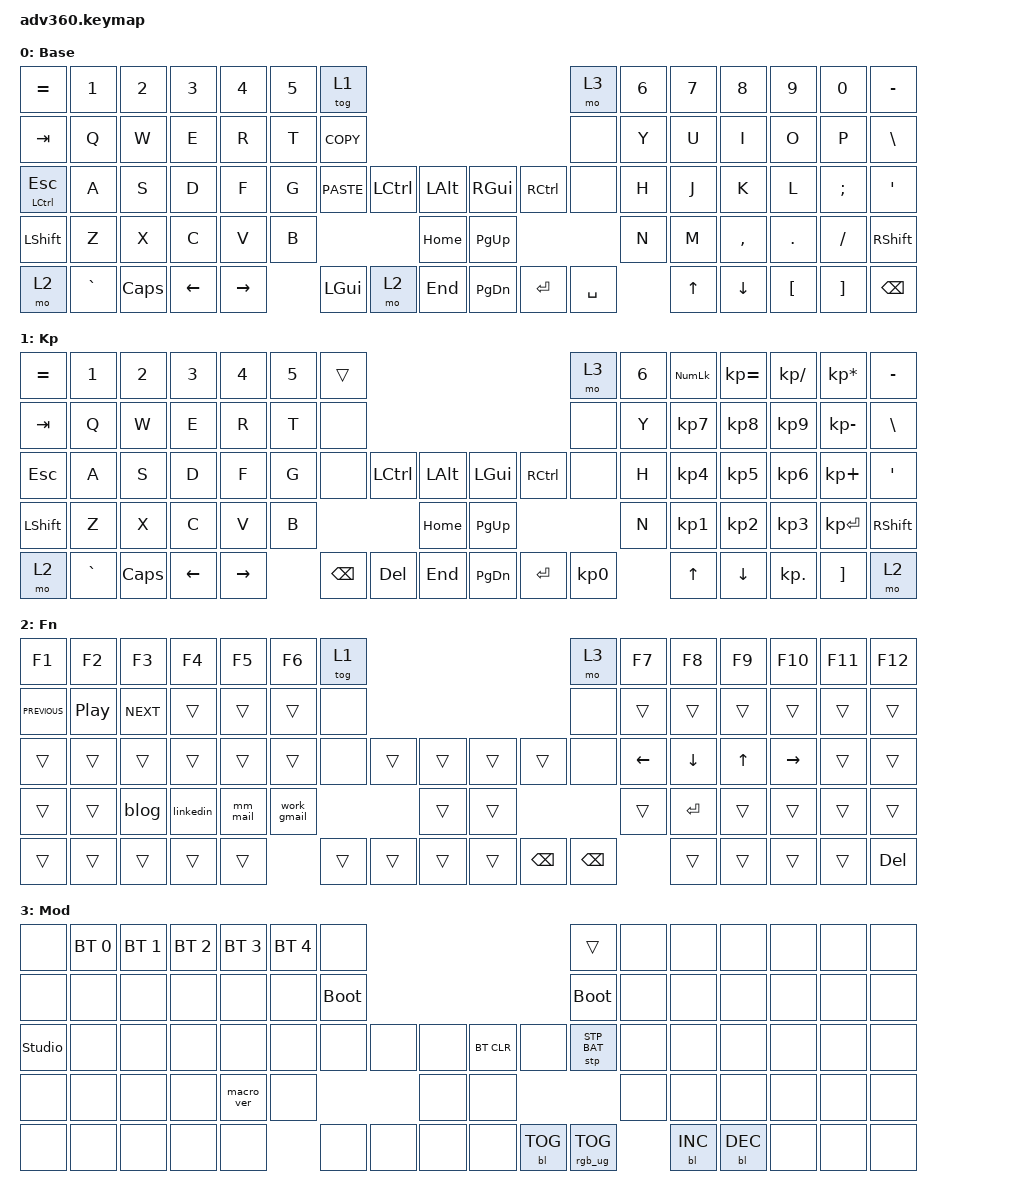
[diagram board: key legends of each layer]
#include <dt-bindings/zmk/stp.h>
#include <behaviors.dtsi>
#include <dt-bindings/zmk/backlight.h>
#include <dt-bindings/zmk/bt.h>
#include <dt-bindings/zmk/keys.h>
#include <dt-bindings/zmk/rgb.h>

/ {
    behaviors {
        #include "macros.dtsi"
      #include "version.dtsi"

        hm: homerow_mods {
            compatible = "zmk,behavior-hold-tap";
            label = "HOMEROW_MODS";
            #binding-cells = <2>;
            tapping-term-ms = <200>;
            quick_tap_ms = <175>;
            flavor = "tap-preferred";
            bindings = <&kp>, <&kp>;
        };
    };

    macros {
        work_gmail: work_gmail {
            compatible = "zmk,behavior-macro";
            #binding-cells = <0>;
            bindings = <&kp F &kp C &kp O &kp DOT &kp S &kp A &kp N &kp A &kp B &kp R &kp I &kp A &kp N0 &kp N8 &kp AT &kp G &kp M &kp A &kp I &kp L &kp DOT &kp C &kp O &kp M>;
            label = "WORK_GMAIL";
        };

        mm_mail: mm_mail {
            compatible = "zmk,behavior-macro";
            #binding-cells = <0>;
            bindings = <&kp F &kp S &kp A &kp N &kp A &kp B &kp R &kp I &kp A &kp AT &kp M &kp M &kp DOT &kp S &kp T>;
            label = "MM_MAIL";
        };

        linkedin: linkedin {
            compatible = "zmk,behavior-macro";
            #binding-cells = <0>;
            bindings = <&kp H &kp T &kp T &kp P &kp S &kp COLON &kp FSLH &kp FSLH &kp W &kp W &kp W &kp DOT &kp L &kp I &kp N &kp K &kp E &kp D &kp I &kp N &kp DOT &kp C &kp O &kp M &kp FSLH &kp I &kp N &kp FSLH &kp F &kp C &kp O &kp S &kp A &kp N &kp A &kp B &kp R &kp I &kp A &kp FSLH>;
            label = "LINKEDIN";
        };

        blog: blog {
            compatible = "zmk,behavior-macro";
            #binding-cells = <0>;
            bindings = <&kp H &kp T &kp T &kp P &kp S &kp COLON &kp FSLH &kp FSLH &kp B &kp L &kp O &kp G &kp DOT &kp F &kp C &kp O &kp S &kp A &kp N &kp A &kp B &kp R &kp I &kp A &kp DOT &kp C &kp O &kp M>;
            label = "BLOG";
        };
    };

    keymap {
        compatible = "zmk,keymap";

        default_layer {
            display-name = "Base";
            bindings = <
&kp EQUAL             &kp N1     &kp N2    &kp N3    &kp N4     &kp N5  &tog 1                                                           &mo 3      &kp N6  &kp N7        &kp N8     &kp N9    &kp N0    &kp MINUS
&kp TAB               &kp Q      &kp W     &kp E     &kp R      &kp T   &kp K_COPY                                                       &none      &kp Y   &kp U         &kp I      &kp O     &kp P     &kp BSLH
&mt LEFT_CONTROL ESC  &kp A      &kp S     &kp D     &kp F      &kp G   &kp K_PASTE   &kp LCTRL  &kp LALT      &kp RIGHT_GUI  &kp RCTRL  &none      &kp H   &kp J         &kp K      &kp L     &kp SEMI  &kp SQT
&kp LSHFT             &kp Z      &kp X     &kp C     &kp V      &kp B                            &kp HOME      &kp PG_UP                            &kp N   &kp M         &kp COMMA  &kp DOT   &kp FSLH  &kp RSHFT
&mo 2                 &kp GRAVE  &kp CAPS  &kp LEFT  &kp RIGHT          &kp LEFT_GUI  &mo 2      &kp END       &kp PG_DN      &kp ENTER  &kp SPACE          &kp UP_ARROW  &kp DOWN   &kp LBKT  &kp RBKT  &kp BACKSPACE
            >;
        };

        keypad {
            display-name = "Kp";
            bindings = <
&kp EQUAL  &kp N1     &kp N2    &kp N3    &kp N4     &kp N5  &trans                                                   &mo 3      &kp N6  &kp KP_NUM  &kp KP_EQUAL  &kp KP_DIVIDE  &kp KP_MULTIPLY  &kp MINUS
&kp TAB    &kp Q      &kp W     &kp E     &kp R      &kp T   &none                                                    &none      &kp Y   &kp KP_N7   &kp KP_N8     &kp KP_N9      &kp KP_MINUS     &kp BSLH
&kp ESC    &kp A      &kp S     &kp D     &kp F      &kp G   &none     &kp LCTRL  &kp LALT      &kp LGUI   &kp RCTRL  &none      &kp H   &kp KP_N4   &kp KP_N5     &kp KP_N6      &kp KP_PLUS      &kp SQT
&kp LSHFT  &kp Z      &kp X     &kp C     &kp V      &kp B                        &kp HOME      &kp PG_UP                        &kp N   &kp KP_N1   &kp KP_N2     &kp KP_N3      &kp KP_ENTER     &kp RSHFT
&mo 2      &kp GRAVE  &kp CAPS  &kp LEFT  &kp RIGHT          &kp BSPC  &kp DEL    &kp END       &kp PG_DN  &kp ENTER  &kp KP_N0          &kp UP      &kp DOWN      &kp KP_DOT     &kp RBKT         &mo 2
            >;
        };

        fn {
            display-name = "Fn";
            bindings = <
&kp F1          &kp F2            &kp F3      &kp F4     &kp F5    &kp F6       &tog 1                                             &mo 3          &kp F7          &kp F8          &kp F9        &kp F10          &kp F11  &kp F12
&kp C_PREVIOUS  &kp C_PLAY_PAUSE  &kp C_NEXT  &trans     &trans    &trans       &none                                              &none          &trans          &trans          &trans        &trans           &trans   &trans
&trans          &trans            &trans      &trans     &trans    &trans       &none   &trans  &trans      &trans  &trans         &none          &kp LEFT_ARROW  &kp DOWN_ARROW  &kp UP_ARROW  &kp RIGHT_ARROW  &trans   &trans
&trans          &trans            &blog       &linkedin  &mm_mail  &work_gmail                  &trans      &trans                                &trans          &kp ENTER       &trans        &trans           &trans   &trans
&trans          &trans            &trans      &trans     &trans                 &trans  &trans  &trans      &trans  &kp BACKSPACE  &kp BACKSPACE                  &trans          &trans        &trans           &trans   &kp DELETE
            >;
        };

        mod {
            display-name = "Mod";
            bindings = <
&none           &bt BT_SEL 0  &bt BT_SEL 1  &bt BT_SEL 2  &bt BT_SEL 3  &bt BT_SEL 4  &none                                                  &trans           &none  &none       &none       &none  &none  &none
&none           &none         &none         &none         &none         &none         &bootloader                                            &bootloader      &none  &none       &none       &none  &none  &none
&studio_unlock  &none         &none         &none         &none         &none         &none        &none  &none      &bt BT_CLR  &none       &stp STP_BAT     &none  &none       &none       &none  &none  &none
&none           &none         &none         &none         &macro_ver    &none                             &none      &none                                    &none  &none       &none       &none  &none  &none
&none           &none         &none         &none         &none                       &none        &none  &none      &none       &bl BL_TOG  &rgb_ug RGB_TOG         &bl BL_INC  &bl BL_DEC  &none  &none  &none
            >;
        };

        extra1 {
            display-name = "Red";
            status = "reserved";
        };

        extra2 {
            display-name = "Purple";
            status = "reserved";
        };

        extra3 {
            display-name = "Cyan";
            status = "reserved";
        };

        extra4 {
            display-name = "Yellow";
            status = "reserved";
        };
    };
};
